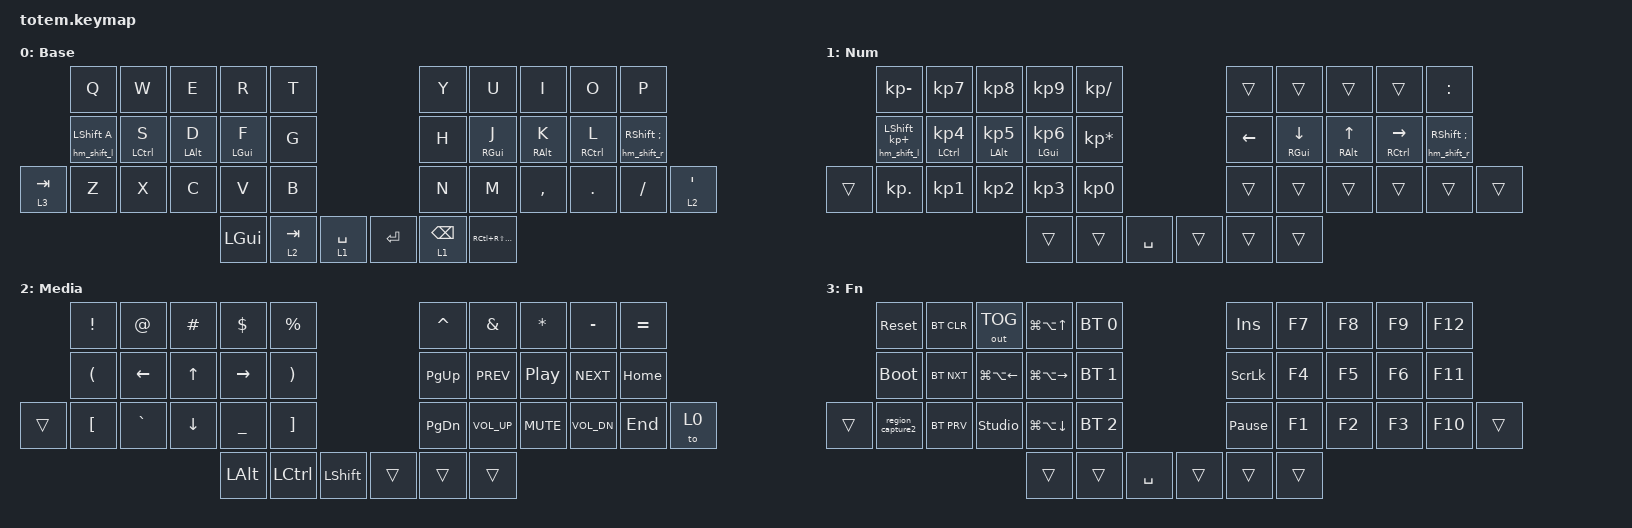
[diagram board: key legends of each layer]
// ZMK includes
#include <behaviors.dtsi>
#include <dt-bindings/zmk/keys.h>
#include <dt-bindings/zmk/bt.h>
#include <dt-bindings/zmk/outputs.h>
#include <dt-bindings/zmk/ext_power.h>

// Source desired key-position labels
#include "zmk-helpers/helper.h"
#include "zmk-helpers/key-labels/totem.h"

#define KEYS_L LT0 LT1 LT2 LT3 LT4 LM0 LM1 LM2 LM3 LM4 LB0 LB1 LB2 LB3 LB4 LB5
#define KEYS_R RT0 RT1 RT2 RT3 RT4 RM0 RM1 RM2 RM3 RM4 RB0 RB1 RB2 RB3 RB4 RB5
#define KEYS_T LH2 LH1 LH0 RH0 RH1 RH2

// Personal includes
#include "includes/behaviours_homerow_mods.dtsi"

#define BASE      0
#define NUM       1
#define MEDIA     2
#define FUNCTION  3

#include "includes/combos.dtsi" 

/ {
    behaviors {
		lc: layer_change {
			compatible = "zmk,behavior-hold-tap";
			#binding-cells = <2>;
			flavor = "hold-preferred";
			tapping-term-ms = <200>;
			quick-tap-ms = <200>;
			require-prior-idle-ms = <125>;
			bindings = <&to>, <&kp>;
		};
    };

    macros {
        region_capture2: region_capture2 {
            compatible = "zmk,behavior-macro";
            #binding-cells = <0>;
            bindings =
                <&macro_press>,
                <&kp RCTRL>,
                <&macro_tap>,
                <&kp K_APP>,
                <&macro_release>,
                <&kp RCTRL>;

            label = "REGION_CAPTURE2";
        };
    };

    keymap {
        compatible = "zmk,keymap";

        // ▄▄▄▄▄▄▄▄▄▄▄▄▄▄▄▄▄▄▄▄▄▄▄▄▄▄▄▄▄▄▄▄▄▄▄▄▄▄▄▄▄▄▄▄▄▄▄▄▄▄▄▄▄▄▄▄▄▄▄▄▄▄▄▄▄▄▄▄▄▄▄▄▄▄▄▄▄▄▄▄▄▄▄▄▄▄▄▄▄▄▄▄▄▄▄▄▄▄▄▄▄▄▄▄▄▄▄▄▄▄▄▄▄▄▄▄▄▄▄▄▄▄▄▄▄▄▄▄▄▄▄▄▄▄▄▄▄▄▄▄▄▄▄▄▄▄▄▄▄

        base_layer {
            // ┏━━━━━━━━━━━━━━━━━━━━━━━━━━━━━━━━━━━━━━━┓

            display-name = "Base";
			label = "BASE";

            // ┗━━━━━━━━━━━━━━━━━━━━━━━━━━━━━━━━━━━━━━━┛
            //             ┌─────────┬─────────┬─────────┬─────────┬─────────┐                     ┌─────────┬─────────┬─────────┬─────────┬─────────┐
            //             │    Q    │    W    │    E    │    R    │    T    │                     │    Y    │    U    │    I    │    O    │    P    │
            //             ├─────────┼─────────┼─────────┼─────────┼─────────┤                     ├─────────┼─────────┼─────────┼─────────┼─────────┤
            //             │    A    │    S    │    D    │    F    │    G    │                     │    H    │    J    │    K    │    L    │    ;    │
            //   ┌─────────┼─────────┼─────────┼─────────┼─────────┼─────────┤                     ├─────────┼─────────┼─────────┼─────────┼─────────┼─────────┐
            //   │   TAB   │    Z    │    X    │    C    │    V    │    B    │                     │    N    │    M    │    ,    │    .    │    /    │    '    │
            //   └─────────┴─────────┴─────────┴─────────┼─────────┼─────────┼──────────┬┬─────────┼─────────┼─────────┼─────────┴─────────┴─────────┴─────────┘
            //                                           │   COPY  │  PASTE  │  SPACE   ││  ENTER  │  BSPCE  │  DITTO  │  
            //                                           └─────────┴─────────┴──────────┘└─────────┴─────────┴─────────┘

			bindings = <
                            &kp Q                &kp W          &kp E         &kp R         &kp T                                &kp Y       &kp U         &kp I         &kp O          &kp P
                            &hm_shift_l LSHFT A  &hm_l LCTRL S  &hm_l LALT D  &hm_l LGUI F  &kp G                                &kp H       &hm_r RGUI J  &hm_r RALT K  &hm_r RCTRL L  &hm_shift_r RSHFT SEMICOLON
                &lt 3 TAB	&kp Z                &kp X          &kp C         &kp V         &kp B                                &kp N       &kp M         &kp COMMA     &kp DOT        &kp SLASH                     &lc 2 SQT
                                                                              &kp LGUI      &lt 2 TAB  &lt 1 SPACE      &kp RET  &lt 1 BSPC  &kp RC(RS(RA(RGUI)))
            >;
        };

        // ▄▄▄▄▄▄▄▄▄▄▄▄▄▄▄▄▄▄▄▄▄▄▄▄▄▄▄▄▄▄▄▄▄▄▄▄▄▄▄▄▄▄▄▄▄▄▄▄▄▄▄▄▄▄▄▄▄▄▄▄▄▄▄▄▄▄▄▄▄▄▄▄▄▄▄▄▄▄▄▄▄▄▄▄▄▄▄▄▄▄▄▄▄▄▄▄▄▄▄▄▄▄▄▄▄▄▄▄▄▄▄▄▄▄▄▄▄▄▄▄▄▄▄▄▄▄▄▄▄▄▄▄▄▄▄▄▄▄▄▄▄▄▄▄▄▄▄▄▄

        num_layer {
            // ┏━━━━━━━━━━━━━━━━━━━━━━━━━━━━━━━━━━━━━━━┓

            display-name = "Num";
			label = "NUM";

            // ┗━━━━━━━━━━━━━━━━━━━━━━━━━━━━━━━━━━━━━━━┛
            //             ┌─────────┬─────────┬─────────┬─────────┬─────────┐                     ┌─────────┬─────────┬─────────┬─────────┬─────────┐
            //             │    -    │    7    │    8    │    9    │    /    │                     │         │         │         │         │    :    │
            //             ├─────────┼─────────┼─────────┼─────────┼─────────┤                     ├─────────┼─────────┼─────────┼─────────┼─────────┤
            //             │    +    │    4    │    5    │    6    │    *    │                     │   LEFT  │   DOWN  │    UP   │  RIGHT  │    ;    │
            //   ┌─────────┼─────────┼─────────┼─────────┼─────────┼─────────┤                     ├─────────┼─────────┼─────────┼─────────┼─────────┼─────────┐
            //   │         │    .    │    1    │    2    │    3    │    0    │                     │         │         │         │         │         │         │
            //   └─────────┴─────────┴─────────┴─────────┼─────────┼─────────┼──────────┬┬─────────┼─────────┼─────────┼─────────┴─────────┴─────────┴─────────┘
            //                                           │    0    │  ENTER  │  SPACE   ││  SPACE  │  ENTER  │    0    │ 
            //                                           └─────────┴─────────┴──────────┘└─────────┴─────────┴─────────┘

            bindings = <
                           &kp KP_MINUS               &kp KP_N7          &kp KP_N8         &kp KP_N9         &kp KP_DIVIDE        &trans      &trans     &trans       &trans     &kp COLON
                           &hm_shift_l LSHFT KP_PLUS  &hm_l LCTRL KP_N4  &hm_l LALT KP_N5  &hm_l LGUI KP_N6  &kp KP_MULTIPLY      &kp LEFT    &hm_r RGUI DOWN  &hm_r RALT UP  &hm_r RCTRL RIGHT  &hm_shift_r RSHFT SEMICOLON
                &trans     &kp KP_DOT                 &kp KP_N1          &kp KP_N2         &kp KP_N3         &kp KP_N0            &trans      &trans     &trans        &trans     &trans     &trans
                                                    &trans     &trans     &kp SPACE          &trans      &trans     &trans
            >;
        };

        // ▄▄▄▄▄▄▄▄▄▄▄▄▄▄▄▄▄▄▄▄▄▄▄▄▄▄▄▄▄▄▄▄▄▄▄▄▄▄▄▄▄▄▄▄▄▄▄▄▄▄▄▄▄▄▄▄▄▄▄▄▄▄▄▄▄▄▄▄▄▄▄▄▄▄▄▄▄▄▄▄▄▄▄▄▄▄▄▄▄▄▄▄▄▄▄▄▄▄▄▄▄▄▄▄▄▄▄▄▄▄▄▄▄▄▄▄▄▄▄▄▄▄▄▄▄▄▄▄▄▄▄▄▄▄▄▄▄▄▄▄▄▄▄▄▄▄▄▄▄

        media_layer {
            // ┏━━━━━━━━━━━━━━━━━━━━━━━━━━━━━━━━━━━━━━━┓

            display-name = "Media";
			label = "MEDIA";

            // ┗━━━━━━━━━━━━━━━━━━━━━━━━━━━━━━━━━━━━━━━┛
            //             ┌─────────┬─────────┬─────────┬─────────┬─────────┐                    ┌─────────┬─────────┬─────────┬─────────┬─────────┐
            //             │    !    │    @    │    #    │    $    │    %    │                    │    ^    │    &    │    *    │    -    │    +    │   
            //             ├─────────┼─────────┼─────────┼─────────┼─────────┤                    ├─────────┼─────────┼─────────┼─────────┼─────────┤
            //             │    (    │    ←    │    ↑    │    →    │    )    │                    │  PGUP   │    <    │  PLAY   │    >    │   HOME  │
            //   ┌─────────┼─────────┼─────────┼─────────┼─────────┼─────────┤                    ├─────────┼─────────┼─────────┼─────────┼─────────┼─────────┐
            //   │         │    [    │    `    │    ↓    │    _    │    ]    │                    │  PGDWN  │   VOL+  │  MUTE   │   VOL-  │   END   │  TO_0   │
            //   └─────────┴─────────┴─────────┴─────────┼─────────┼─────────┼─────────┬┬─────────┼─────────┼─────────┼─────────┴─────────┴─────────┴─────────┘
            //                                           │   ALT   │  CTRL   │  SHIFT  ││         │         │         │  
            //                                           └─────────┴─────────┴─────────┘└─────────┴─────────┴─────────┘

            bindings = <
                         &kp EXCL  &kp AT     &kp HASH  &kp DLLR   &kp PRCNT    &kp CARET  &kp AMPS      &kp ASTRK   &kp MINUS     &kp EQUAL
                         &kp LPAR  &kp LEFT   &kp UP    &kp RIGHT  &kp RPAR     &kp PG_UP  &kp C_PREV    &kp C_PP    &kp C_NEXT    &kp HOME
                &trans   &kp LBKT  &kp GRAVE  &kp DOWN  &kp UNDER  &kp RBKT     &kp PG_DN  &kp C_VOL_UP  &kp C_MUTE  &kp C_VOL_DN  &kp END    &to 0
                                              &kp LALT  &kp LCTRL  &kp LSHFT    &trans     &trans        &trans
            >;
        };

        // ▄▄▄▄▄▄▄▄▄▄▄▄▄▄▄▄▄▄▄▄▄▄▄▄▄▄▄▄▄▄▄▄▄▄▄▄▄▄▄▄▄▄▄▄▄▄▄▄▄▄▄▄▄▄▄▄▄▄▄▄▄▄▄▄▄▄▄▄▄▄▄▄▄▄▄▄▄▄▄▄▄▄▄▄▄▄▄▄▄▄▄▄▄▄▄▄▄▄▄▄▄▄▄▄▄▄▄▄▄▄▄▄▄▄▄▄▄▄▄▄▄▄▄▄▄▄▄▄▄▄▄▄▄▄▄▄▄▄▄▄▄▄▄▄▄▄▄▄▄

        function_layer {
            // ┏━━━━━━━━━━━━━━━━━━━━━━━━━━━━━━━━━━━━━━━┓

            display-name = "Fn";
			label = "FUNCTION";

            // ┗━━━━━━━━━━━━━━━━━━━━━━━━━━━━━━━━━━━━━━━┛
            //             ┌─────────┬─────────┬─────────┬─────────┬─────────┐                     ┌─────────┬─────────┬─────────┬─────────┬─────────┐
            //             │  RESET  │  BT CLR │ OUT TOG │  WIN ^  │ BTSEL 0 │                     │   INS   │    F7   │    F8   │    F9   │   F12   │
            //             ├─────────┼─────────┼─────────┼─────────┼─────────┤                     ├─────────┼─────────┼─────────┼─────────┼─────────┤
            //             │  BOOTLD │ BT NEXT │  WIN <  │  WIN >  │ BTSEL 1 │                     │  SLCK   │    F4   │    F5   │    F6   │   F11   │
            //   ┌─────────┼─────────┼─────────┼─────────┼─────────┼─────────┤                     ├─────────┼─────────┼─────────┼─────────┼─────────┼─────────┐
            //   │         │ CAPTURE │ BT PREV │ STUDIO  │  WIN v  │ BTSEL 2 │                     │  PAUSE  │    F1   │    F2   │    F3   │   F10   │         │
            //   └─────────┴─────────┴─────────┴─────────┼─────────┼─────────┼──────────┬┬─────────┼─────────┼─────────┼─────────┴─────────┴─────────┴─────────┘
            //                                           │         │         │  SPACE   ││         │         │         │ 
            //                                           └─────────┴─────────┴──────────┘└─────────┴─────────┴─────────┘

            bindings = <
                        &sys_reset        &bt BT_CLR  &out OUT_TOG            &kp LG(LA(UP_ARROW))     &bt BT_SEL 0    &kp INSERT       &kp F7  &kp F8  &kp F9  &kp F12
                        &bootloader       &bt BT_NXT  &kp LG(LA(LEFT_ARROW))  &kp LG(LA(RIGHT_ARROW))  &bt BT_SEL 1    &kp SLCK         &kp F4  &kp F5  &kp F6  &kp F11
                &trans  &region_capture2  &bt BT_PRV  &studio_unlock          &kp LG(LA(DOWN_ARROW))   &bt BT_SEL 2    &kp PAUSE_BREAK  &kp F1  &kp F2  &kp F3  &kp F10  &trans
                                                      &trans                  &trans                   &kp SPACE       &trans           &trans  &trans
            >;
        };

        // ▄▄▄▄▄▄▄▄▄▄▄▄▄▄▄▄▄▄▄▄▄▄▄▄▄▄▄▄▄▄▄▄▄▄▄▄▄▄▄▄▄▄▄▄▄▄▄▄▄▄▄▄▄▄▄▄▄▄▄▄▄▄▄▄▄▄▄▄▄▄▄▄▄▄▄▄▄▄▄▄▄▄▄▄▄▄▄▄▄▄▄▄▄▄▄▄▄▄▄▄▄▄▄▄▄▄▄▄▄▄▄▄▄▄▄▄▄▄▄▄▄▄▄▄▄▄▄▄▄▄▄▄▄▄▄▄▄▄▄▄▄▄▄▄▄▄▄▄▄		
    };
};
